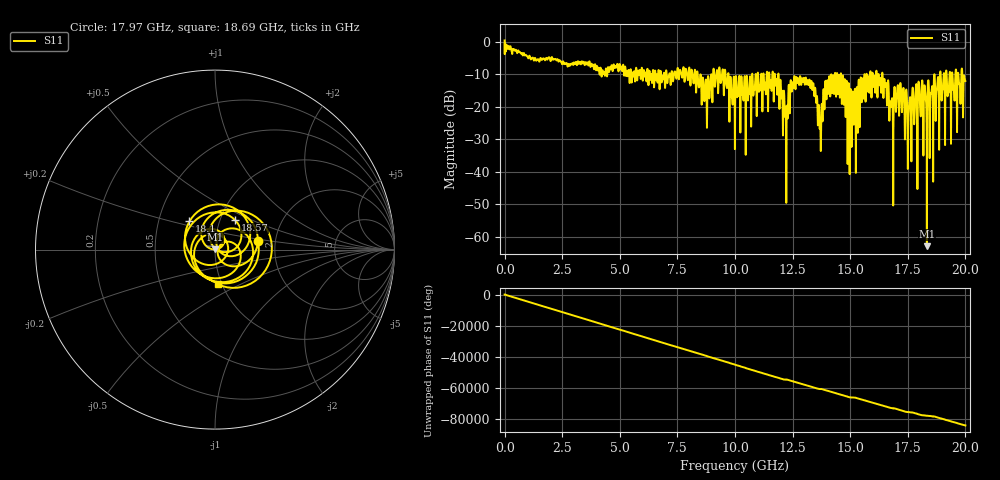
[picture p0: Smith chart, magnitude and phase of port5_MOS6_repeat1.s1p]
! MS46122B
! 2250307/22442219
! 7/28/2025 8:09:14 AM
! C:\USERS\SPARKY\DOCUMENTS\VNA_DATA\JULY28_2025\295K\PORT5_MOS6_REPEAT1.S1P
! CHANNEL.1
! TR.MEASUREMENT
! RAW.DATA
# GHZ S RI R 50.0
! FREQ.GHZ  S11RE  S11IM
!; PortSelection: Port_1
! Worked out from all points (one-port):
!   10001 points, 1 MHz to 20 GHz, reference 50 ohm
!   lowest |S11| = -62.8 dB at 18.33 GHz (marker M1), VSWR 1.00, Z = 50 + j0.072 ohm
!   |S11| at or under -10 dB: 9.719 GHz to 10.74 GHz (1.022 GHz wide, 9.99 % of centre); 11.89 GHz to 14.33 GHz (2.443 GHz wide, 18.6 % of centre); 16.41 GHz to 18.65 GHz (2.246 GHz wide, 12.8 % of centre) (the widest 3 of 74)
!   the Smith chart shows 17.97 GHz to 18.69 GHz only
!   S11 on the Smith chart (normalised r, x): 17.97 GHz: 1.62, +0.16; 18.1 GHz: 0.72, +0.24; 18.57 GHz: 1.18, +0.40; 18.69 GHz: 0.96, -0.39
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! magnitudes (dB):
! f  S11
! 1 MHz  0.4
! 2.501 GHz  -6.9
! 5.001 GHz  -7.1
! 7.501 GHz  -8.3
! 8.717 GHz  -12.7
! 9.393 GHz  -12.4
! 10 GHz  -27.2
! 11.81 GHz  -11.6
! 12.17 GHz  -22.6
! 12.5 GHz  -12.4
! 13.32 GHz  -12.0
! 13.68 GHz  -26.4
! 13.92 GHz  -12.0
! 14.26 GHz  -10.3
! 15 GHz  -16.0
! 16.06 GHz  -10.6
! 16.57 GHz  -13.8
! 16.79 GHz  -19.2
! 17.12 GHz  -22.6
! 17.5 GHz  -37.5
! 17.58 GHz  -18.3
! 17.65 GHz  -26.5
! 17.97 GHz  -12.3
! 18.1 GHz  -13.5
! 18.33 GHz  -62.8
! 18.57 GHz  -14.0
! 18.69 GHz  -14.2
! 20 GHz  -12.1
